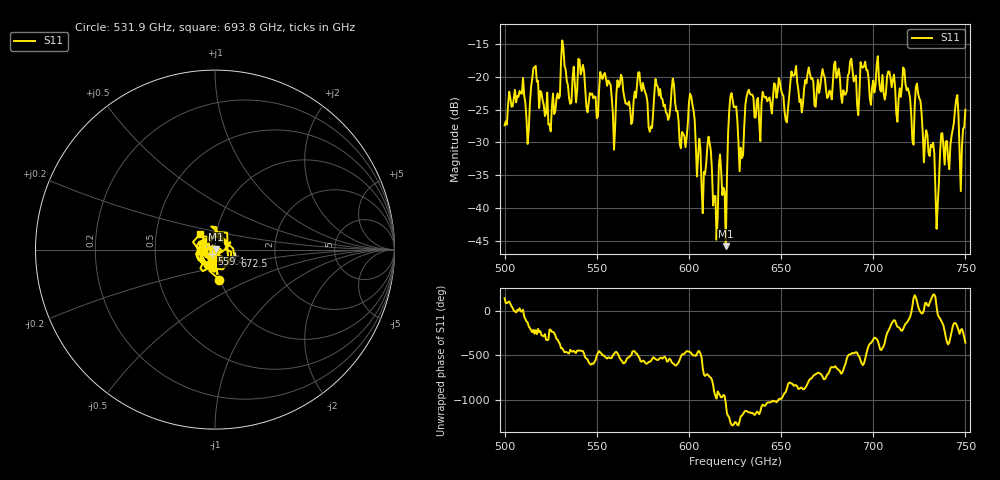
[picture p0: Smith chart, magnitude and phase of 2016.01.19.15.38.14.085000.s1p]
!Created with skrf (http://scikit-rf.org).
# GHz S RI R 50.0
!freq ReS11 ImS11
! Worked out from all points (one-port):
!   401 points, 500 GHz to 750 GHz, reference 50 ohm
!   lowest |S11| = -45.8 dB at 620 GHz (marker M1), VSWR 1.01, Z = 50.4 + j0.337 ohm
!   |S11| at or under -10 dB: start of sweep to end of sweep
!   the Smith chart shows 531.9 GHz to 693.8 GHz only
!   S11 on the Smith chart (normalised r, x): 531.9 GHz: 0.99, -0.34; 559.4 GHz: 0.97, -0.04; 672.5 GHz: 1.24, -0.09; 693.8 GHz: 0.84, +0.15
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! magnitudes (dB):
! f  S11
! 500 GHz  -27.4
! 512.5 GHz  -30.2
! 516.2 GHz  -18.5
! 525 GHz  -28.3
! 531.2 GHz  -14.4
! 531.9 GHz  -15.5
! 559.4 GHz  -31.1
! 562.5 GHz  -21.1
! 593.8 GHz  -25.2
! 601.2 GHz  -23.0
! 607.5 GHz  -40.8
! 611.2 GHz  -30.1
! 614.4 GHz  -38.2
! 620 GHz  -45.8
! 622.5 GHz  -23.0
! 625 GHz  -24.6
! 628.1 GHz  -30.8
! 632.5 GHz  -22.0
! 653.1 GHz  -26.9
! 656.2 GHz  -19.8
! 672.5 GHz  -18.8
! 687.5 GHz  -17.6
! 693.8 GHz  -18.4
! 718.8 GHz  -21.7
! 724.4 GHz  -22.6
! 734.4 GHz  -43.2
! 744.4 GHz  -25.0
! 750 GHz  -25.0
